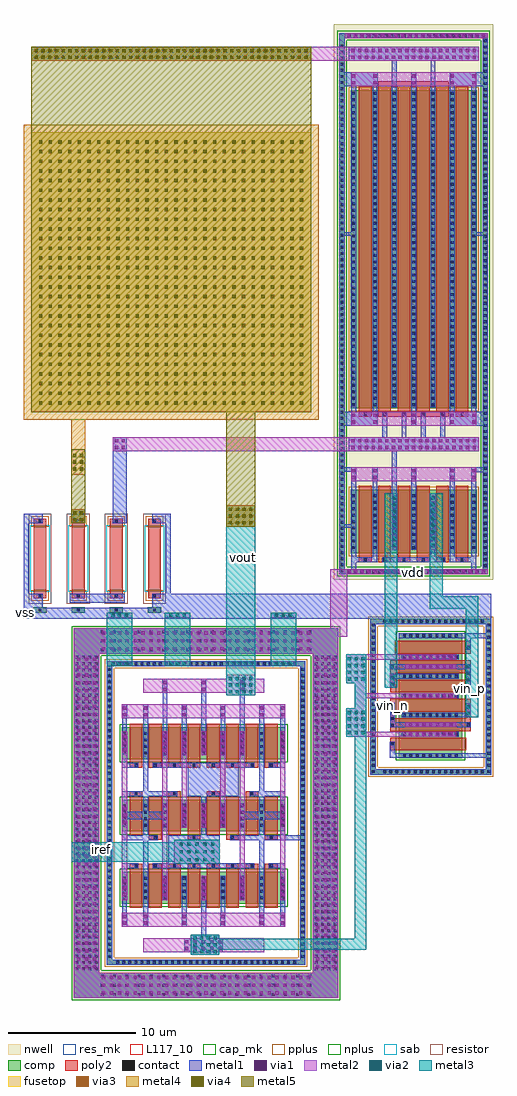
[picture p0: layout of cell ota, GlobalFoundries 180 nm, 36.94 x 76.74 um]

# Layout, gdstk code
from math import pi, radians
import gdstk
lib = gdstk.Library(unit=1e-6, precision=1e-09)
def R(c, l, rs):  # rectangles x0, y0, x1, y1
    for r in rs: c.add(gdstk.rectangle(r[:2], r[2:], *l))
def A(c, l, x, y, w, h, nx, ny, dx, dy):  # array of equal rectangles
    R(c, l, [(x+i*dx, y+j*dy, x+i*dx+w, y+j*dy+h) for i in range(nx) for j in range(ny)])
nwell = (21, 0)
comp = (22, 0)
poly2 = (30, 0)
pplus = (31, 0)
nplus = (32, 0)
contact = (33, 0)
metal1 = (34, 0)
via1 = (35, 0)
metal2 = (36, 0)
via2 = (38, 0)
via3 = (40, 0)
via4 = (41, 0)
metal3 = (42, 0)
metal4 = (46, 0)
sab = (49, 0)
resistor = (62, 0)
fusetop = (75, 0)
metal5 = (81, 0)
res_mk = (110, 5)
cap_mk = (117, 5)
L117_10 = (117, 10)

via_dev_32 = lib.new_cell('via_dev$32')
R(via_dev_32, metal2, [(0,0,2.26,1.6)])
A(via_dev_32, via2, 0.205, 0.14, 0.26, 0.26, 4, 3, 0.53, 0.53)
R(via_dev_32, metal3, [(0,0,2.26,1.6)])

ota_res_flat = lib.new_cell('ota_res_FLAT')
A(ota_res_flat, comp, 0.36, -6.21, 0.42, 1, 1, 4, 0, 3)
A(ota_res_flat, poly2, 1.48, -6.21, 6.28, 1, 1, 4, 0, 3)
A(ota_res_flat, pplus, 1.3, -6.39, 0.82, 1.36, 1, 4, 0, 3)
A(ota_res_flat, pplus, 7.12, -6.39, 0.82, 1.36, 1, 4, 0, 3)
A(ota_res_flat, pplus, 0.34, -6.23, 0.46, 1.04, 1, 4, 0, 3)
A(ota_res_flat, contact, 0.46, -5.82, 0.22, 0.22, 1, 4, 0, 3)
A(ota_res_flat, contact, 1.58, -5.82, 0.22, 0.22, 1, 4, 0, 3)
A(ota_res_flat, contact, 7.44, -5.82, 0.22, 0.22, 1, 4, 0, 3)
A(ota_res_flat, metal1, 0.38, -5.9, 0.38, 0.38, 1, 4, 0, 3)
A(ota_res_flat, metal1, 1.47, -5.9, 0.38, 0.38, 1, 4, 0, 3)
R(ota_res_flat, metal1, [(0.38,-7,1.85,-5.515), (0.38,-7,0.76,4.58), (1.85,-7,7.77,-6.61), (7.39,-7,8.16,-5.515), (7.39,-5.9,7.77,-5.52), (1.15,-3.39,1.85,0.97), (0.38,-2.905,0.76,-2.515), (7.39,-2.905,7.77,-2.515), (7.39,-2.9,7.77,-2.52), (0.38,0.095,0.76,0.485), (7.39,0.095,7.77,0.485), (7.39,0.1,8.61,0.48), (0.38,3.095,1.85,4.58), (7.39,3.095,8.16,4.58), (7.39,3.1,7.77,3.48), (1.85,4.19,7.77,4.58)])
A(ota_res_flat, sab, 2.02, -6.49, 5.2, 1.56, 1, 4, 0, 3)
A(ota_res_flat, resistor, 1.08, -6.61, 7.08, 1.8, 1, 4, 0, 3)
A(ota_res_flat, res_mk, 2.12, -6.21, 5, 1, 1, 4, 0, 3)
ota_res_flat.add(gdstk.Label('res_vout', (7.72,-2.665), layer=34, texttype=10))
ota_res_flat.add(gdstk.Label('vss', (0.51,-6.495), layer=34, texttype=10))
ota_res_flat.add(gdstk.Label('vin', (7.72,0.225), layer=34, texttype=10))

via_dev = lib.new_cell('via_dev')
R(via_dev, metal1, [(0,0,0.4,1.91)])
A(via_dev, via1, 0.07, 0.295, 0.26, 0.26, 1, 3, 0, 0.53)
R(via_dev, metal2, [(0,0,0.4,1.91)])

via_dev_7 = lib.new_cell('via_dev$7')
R(via_dev_7, metal1, [(0,0,0.4,1.1)])
R(via_dev_7, via1, [(0.07,0.155,0.33,0.415), (0.07,0.685,0.33,0.945)])
R(via_dev_7, metal2, [(0,0,0.4,1.1)])

via_dev_2 = lib.new_cell('via_dev$2')
R(via_dev_2, metal1, [(0,0,3.56,1.87)])
A(via_dev_2, via1, 0.41, 0.185, 0.26, 0.26, 5, 3, 0.62, 0.62)
R(via_dev_2, metal2, [(0,0,3.56,1.87)])
A(via_dev_2, via2, 0.41, 0.185, 0.26, 0.26, 5, 3, 0.62, 0.62)
R(via_dev_2, metal3, [(0,0,3.56,1.87)])

nfet_5 = lib.new_cell('nfet$5')
R(nfet_5, comp, [(-0.42,0,0,2.5), (0,0,12.02,2.5), (12.02,0,12.44,2.5)])
A(nfet_5, poly2, 0.19, -0.66, 1, 0.36, 4, 1, 3.04, 0)
A(nfet_5, poly2, 0.19, -0.3, 1, 3.1, 8, 1, 1.52, 0)
A(nfet_5, poly2, 1.71, 2.8, 1, 0.36, 4, 1, 3.04, 0)
R(nfet_5, nplus, [(-0.59,-0.24,12.61,2.74)])
A(nfet_5, contact, 0.58, -0.59, 0.22, 0.22, 4, 1, 3.04, 0)
A(nfet_5, contact, -0.32, 0.375, 0.22, 0.22, 1, 4, 0, 0.51)
A(nfet_5, contact, 1.34, 0.375, 0.22, 0.22, 7, 4, 1.52, 0.51)
A(nfet_5, contact, 12.12, 0.375, 0.22, 0.22, 1, 4, 0, 0.51)
A(nfet_5, contact, 2.1, 2.87, 0.22, 0.22, 4, 1, 3.04, 0)
A(nfet_5, metal1, 0.5, -0.67, 0.38, 0.38, 4, 1, 3.04, 0)
A(nfet_5, metal1, 1.26, 0.295, 0.38, 1.91, 7, 1, 1.52, 0)
A(nfet_5, metal1, 2.02, 2.79, 0.38, 0.38, 4, 1, 3.04, 0)
R(nfet_5, metal1, [(-0.4,0.295,-0.02,2.205), (12.04,0.295,12.42,2.205)])

nfet_6 = lib.new_cell('nfet$6')
R(nfet_6, comp, [(-0.42,0,0,2.5), (0,0,12.02,2.5), (12.02,0,12.44,2.5)])
A(nfet_6, poly2, 0.19, -0.66, 1, 0.36, 8, 1, 1.52, 0)
A(nfet_6, poly2, 0.19, -0.3, 1, 3.1, 8, 1, 1.52, 0)
R(nfet_6, nplus, [(-0.59,-0.24,12.61,2.74)])
A(nfet_6, contact, 0.58, -0.59, 0.22, 0.22, 8, 1, 1.52, 0)
A(nfet_6, contact, -0.32, 0.375, 0.22, 0.22, 1, 4, 0, 0.51)
A(nfet_6, contact, 1.34, 0.375, 0.22, 0.22, 7, 4, 1.52, 0.51)
A(nfet_6, contact, 12.12, 0.375, 0.22, 0.22, 1, 4, 0, 0.51)
A(nfet_6, metal1, 0.5, -0.67, 0.38, 0.38, 8, 1, 1.52, 0)
A(nfet_6, metal1, 1.26, 0.295, 0.38, 1.91, 7, 1, 1.52, 0)
R(nfet_6, metal1, [(-0.4,0.295,-0.02,2.205), (12.04,0.295,12.42,2.205)])

nfet_7 = lib.new_cell('nfet$7')
R(nfet_7, comp, [(-0.42,0,0,2.5), (0,0,12.02,2.5), (12.02,0,12.44,2.5)])
A(nfet_7, poly2, 0.19, -0.3, 1, 3.1, 8, 1, 1.52, 0)
A(nfet_7, poly2, 0.19, 2.8, 1, 0.36, 8, 1, 1.52, 0)
R(nfet_7, nplus, [(-0.59,-0.24,12.61,2.74)])
A(nfet_7, contact, -0.32, 0.375, 0.22, 0.22, 1, 4, 0, 0.51)
A(nfet_7, contact, 1.34, 0.375, 0.22, 0.22, 7, 4, 1.52, 0.51)
A(nfet_7, contact, 12.12, 0.375, 0.22, 0.22, 1, 4, 0, 0.51)
A(nfet_7, contact, 0.58, 2.87, 0.22, 0.22, 8, 1, 1.52, 0)
A(nfet_7, metal1, 1.26, 0.295, 0.38, 1.91, 7, 1, 1.52, 0)
A(nfet_7, metal1, 0.5, 2.79, 0.38, 0.38, 8, 1, 1.52, 0)
R(nfet_7, metal1, [(-0.4,0.295,-0.02,2.205), (12.04,0.295,12.42,2.205)])

via_dev_15_1 = lib.new_cell('via_dev$15$1')
R(via_dev_15_1, comp, [(0,0,14.8,0.4)])
A(via_dev_15_1, contact, 0.33, 0.09, 0.22, 0.22, 30, 1, 0.48, 0)
R(via_dev_15_1, metal1, [(0,0,14.8,0.4)])

via_dev_20 = lib.new_cell('via_dev$20')
R(via_dev_20, comp, [(0,0,16.8,2)])
A(via_dev_20, contact, 0.13, 0.17, 0.22, 0.22, 18, 3, 0.96, 0.72)
R(via_dev_20, metal1, [(0,0,16.8,2)])
A(via_dev_20, via1, 0.21, 0.25, 0.26, 0.26, 27, 3, 0.62, 0.62)
R(via_dev_20, metal2, [(0,0,16.8,2)])

via_dev_19 = lib.new_cell('via_dev$19')
R(via_dev_19, comp, [(0,0,2,25.08)])
A(via_dev_19, contact, 0.14, 0.18, 0.22, 0.22, 4, 50, 0.5, 0.5)
R(via_dev_19, metal1, [(0,0,2,25.08)])
A(via_dev_19, via1, 0.25, 0.32, 0.26, 0.26, 3, 40, 0.62, 0.62)
R(via_dev_19, metal2, [(0,0,2,25.08)])

via_dev_16 = lib.new_cell('via_dev$16')
R(via_dev_16, comp, [(0,0,0.4,23.08)])
A(via_dev_16, contact, 0.09, 0.15, 0.22, 0.22, 1, 48, 0, 0.48)
R(via_dev_16, metal1, [(0,0,0.4,23.08)])

cm_nmos = lib.new_cell('cm_nmos')
R(cm_nmos, nwell, [(16.91,2.495,19.23,31.895), (16.91,2.495,38.03,4.815), (35.71,2.495,38.03,31.895), (16.91,29.575,38.03,31.895)])
R(cm_nmos, comp, [(17.07,2.655,19.07,4.655), (35.87,2.655,37.87,4.655), (19.67,5.255,20.07,5.655), (34.87,5.255,35.27,5.655), (19.67,28.735,20.07,29.135), (34.87,28.735,35.27,29.135), (17.07,29.735,19.07,31.735), (35.87,29.735,37.87,31.735)])
R(cm_nmos, pplus, [(19.51,5.095,20.23,29.295), (19.51,5.095,35.43,5.815), (34.71,5.095,35.43,29.295), (19.51,28.575,35.43,29.295)])
R(cm_nmos, nplus, [(16.91,2.495,38.03,4.815), (16.91,2.495,19.23,31.895), (35.71,2.495,38.03,31.895), (16.91,29.575,38.03,31.895)])
A(cm_nmos, metal1, 24.04, 7.755, 0.38, 3, 3, 1, 3.04, 0)
A(cm_nmos, metal1, 22.52, 9.755, 0.38, 1, 4, 2, 3.04, 14.28)
R(cm_nmos, metal1, [(17.07,2.655,19.07,4.655), (35.87,2.655,37.87,4.655), (19.67,5.255,20.07,5.655), (34.87,5.255,35.27,5.655), (30.12,7.755,30.5,10.755), (20.86,9.755,21.24,10.755), (33.3,9.755,33.68,10.755), (20.85,12.665,21.25,13.635), (22.52,12.665,22.9,16.44), (31.64,12.665,32.02,16.44), (33.29,12.665,33.69,13.635), (20.85,13.245,22.14,13.635), (23.28,13.245,31.26,13.635), (32.4,13.245,33.69,13.635), (26.01,13.635,30.05,15.86), (20.85,15.47,25.18,15.86), (20.85,15.47,21.25,16.44), (30.88,15.47,33.69,15.86), (33.29,15.47,33.69,16.44), (27.07,15.86,27.47,16.44), (21.24,17.075,24.04,17.7), (30.5,17.075,33.3,17.7), (20.85,18.35,21.25,19.32), (22.52,18.35,22.9,22.125), (27.07,18.35,27.47,18.93), (31.64,18.35,32.02,22.125), (33.29,18.35,33.69,19.32), (20.85,18.93,23.66,19.32), (24.49,18.93,28.53,21.155), (29.36,18.93,33.69,19.32), (33.69,18.93,34.87,19.32), (20.85,21.155,21.25,22.125), (20.85,21.155,22.14,21.545), (23.28,21.155,31.26,21.545), (32.4,21.155,33.69,21.545), (33.29,21.155,33.69,22.125), (20.86,24.035,21.24,25.035), (27.08,24.035,27.46,27.035), (33.3,24.035,33.68,25.035), (25.75,27.035,28.79,28.135), (19.67,28.735,20.07,29.135), (34.87,28.735,35.27,29.135), (17.07,29.735,19.07,31.735), (35.87,29.735,37.87,31.735)])
R(cm_nmos, metal2, [(17.07,2.655,19.07,4.655), (35.87,2.655,37.87,4.655), (22.51,6.655,32.03,7.755), (20.85,8.655,33.69,9.755), (20.85,12.665,21.25,22.125), (24.03,12.665,24.43,22.125), (25.55,12.665,25.95,16.44), (28.59,12.665,28.99,16.44), (30.11,12.665,30.51,22.125), (33.29,12.665,33.69,22.125), (20.85,25.035,33.69,26.135), (22.51,27.035,32.03,28.135), (17.07,29.735,19.07,31.735), (35.87,29.735,37.87,31.735)])
cm_nmos.add(gdstk.Reference(via_dev, (30.11,10.755)))
cm_nmos.add(gdstk.Reference(via_dev, (27.07,16.44)))
cm_nmos.add(gdstk.Reference(via_dev_7, (31.63,25.035)))
cm_nmos.add(gdstk.Reference(via_dev_7, (27.07,6.655)))
cm_nmos.add(gdstk.Reference(via_dev_7, (31.63,8.655)))
cm_nmos.add(gdstk.Reference(via_dev, (30.11,22.125)))
cm_nmos.add(gdstk.Reference(via_dev, (25.55,16.44)))
cm_nmos.add(gdstk.Reference(via_dev, (27.07,22.125)))
cm_nmos.add(gdstk.Reference(via_dev, (28.59,16.44)))
cm_nmos.add(gdstk.Reference(via_dev_7, (20.85,8.655)))
cm_nmos.add(gdstk.Reference(via_dev_7, (22.51,8.655)))
cm_nmos.add(gdstk.Reference(via_dev_7, (25.55,8.655)))
cm_nmos.add(gdstk.Reference(via_dev_7, (28.59,8.655)))
cm_nmos.add(gdstk.Reference(via_dev_7, (33.29,8.655)))
cm_nmos.add(gdstk.Reference(via_dev_7, (24.03,6.655)))
cm_nmos.add(gdstk.Reference(via_dev_7, (30.11,6.655)))
cm_nmos.add(gdstk.Reference(via_dev_7, (20.85,25.035)))
cm_nmos.add(gdstk.Reference(via_dev_7, (22.51,25.035)))
cm_nmos.add(gdstk.Reference(via_dev_7, (25.55,25.035)))
cm_nmos.add(gdstk.Reference(via_dev_7, (28.59,25.035)))
cm_nmos.add(gdstk.Reference(via_dev_7, (33.29,25.035)))
cm_nmos.add(gdstk.Reference(via_dev_7, (27.07,27.035)))
cm_nmos.add(gdstk.Reference(via_dev, (25.55,10.755)))
cm_nmos.add(gdstk.Reference(via_dev, (28.59,10.755)))
cm_nmos.add(gdstk.Reference(via_dev_7, (30.11,6.655)))
cm_nmos.add(gdstk.Reference(via_dev, (24.03,10.755)))
cm_nmos.add(gdstk.Reference(via_dev, (27.07,10.755)))
cm_nmos.add(gdstk.Reference(via_dev, (24.03,22.125)))
cm_nmos.add(gdstk.Reference(via_dev, (20.85,22.125)))
cm_nmos.add(gdstk.Reference(via_dev, (20.85,16.44)))
cm_nmos.add(gdstk.Reference(via_dev, (20.85,10.755)))
cm_nmos.add(gdstk.Reference(via_dev, (33.29,22.125)))
cm_nmos.add(gdstk.Reference(via_dev, (33.29,16.44)))
cm_nmos.add(gdstk.Reference(via_dev, (33.29,10.755)))
cm_nmos.add(gdstk.Reference(via_dev_2, (24.97,19.305)))
cm_nmos.add(gdstk.Reference(nfet_5, (21.26,16.145)))
cm_nmos.add(gdstk.Reference(nfet_6, (21.26,21.83)))
cm_nmos.add(gdstk.Reference(nfet_7, (21.26,10.46)))
cm_nmos.add(gdstk.Reference(via_dev_15_1, (20.07,5.255)))
cm_nmos.add(gdstk.Reference(via_dev_20, (19.07,2.655)))
cm_nmos.add(gdstk.Reference(via_dev_15_1, (20.07,28.735)))
cm_nmos.add(gdstk.Reference(via_dev_19, (35.87,4.655)))
cm_nmos.add(gdstk.Reference(via_dev_16, (19.67,5.655)))
cm_nmos.add(gdstk.Reference(via_dev_16, (34.87,5.655)))
cm_nmos.add(gdstk.Reference(via_dev_20, (19.07,29.735)))
cm_nmos.add(gdstk.Reference(via_dev_19, (17.07,4.655)))
cm_nmos.add(gdstk.Reference(via_dev_7, (26.385,27.035)))
cm_nmos.add(gdstk.Reference(via_dev_7, (28.39,27.035)))
cm_nmos.add(gdstk.Reference(via_dev_7, (27.705,27.035)))
cm_nmos.add(gdstk.Reference(via_dev_7, (25.75,27.035)))
cm_nmos.add(gdstk.Label('vss', (19.89,18.485), layer=34, texttype=0))
cm_nmos.add(gdstk.Label('vdd', (18.82,18.425), layer=34, texttype=0))
cm_nmos.add(gdstk.Label('iout', (27.3,27.91), layer=34, texttype=10))
cm_nmos.add(gdstk.Label('vout', (30.32,7.235), layer=34, texttype=10))
cm_nmos.add(gdstk.Label('iref', (25.315,21.35), layer=34, texttype=10))

via_dev_35 = lib.new_cell('via_dev$35')
R(via_dev_35, metal2, [(0,0,22,1.1)])
A(via_dev_35, via2, 0.27, 0.155, 0.26, 0.26, 41, 2, 0.53, 0.53)
A(via_dev_35, via3, 0.27, 0.155, 0.26, 0.26, 41, 2, 0.53, 0.53)
A(via_dev_35, via4, 0.27, 0.155, 0.26, 0.26, 41, 2, 0.53, 0.53)
R(via_dev_35, metal3, [(0,0,22,1.1)])
R(via_dev_35, metal4, [(0,0,22,1.1)])
R(via_dev_35, metal5, [(0,0,22,1.1)])

cap_mim = lib.new_cell('cap_mim')
A(cap_mim, via4, 0.61, 0.61, 0.26, 0.26, 28, 28, 0.76, 0.76)
R(cap_mim, metal4, [(-0.6,-0.6,22.6,22.6)])
R(cap_mim, fusetop, [(0,0,22,22)])
R(cap_mim, metal5, [(0,0,22,22)])
R(cap_mim, cap_mk, [(-0.6,-0.6,22.6,22.6)])
R(cap_mim, L117_10, [(0,0,22,0.1)])

via_dev_40 = lib.new_cell('via_dev$40')
R(via_dev_40, comp, [(0,0,0.4,42.14)])
A(via_dev_40, contact, 0.09, 0.145, 0.22, 0.22, 1, 87, 0, 0.48)
R(via_dev_40, metal1, [(0,0,0.4,42.14)])

via_dev_42 = lib.new_cell('via_dev$42')
R(via_dev_42, metal1, [(0,0,11.26,0.4)])
A(via_dev_42, via1, 0.2, 0.07, 0.26, 0.26, 21, 1, 0.53, 0)
R(via_dev_42, metal2, [(0,0,11.26,0.4)])

via_dev_41 = lib.new_cell('via_dev$41')
R(via_dev_41, comp, [(0,0,11.26,0.4)])
A(via_dev_41, contact, 0.265, 0.09, 0.22, 0.22, 22, 1, 0.48, 0)
R(via_dev_41, metal1, [(0,0,11.26,0.4)])
via_dev_41.add(gdstk.Reference(via_dev_42, (0,0)))

via_dev_34 = lib.new_cell('via_dev$34')
R(via_dev_34, metal1, [(0,0,1.1,1.1)])
R(via_dev_34, via1, [(0.155,0.155,0.415,0.415), (0.685,0.155,0.945,0.415), (0.155,0.685,0.415,0.945), (0.685,0.685,0.945,0.945)])
R(via_dev_34, metal2, [(0,0,1.1,1.1)])

via_dev_36 = lib.new_cell('via_dev$36')
A(via_dev_36, via3, 0.205, 0.19, 0.26, 0.26, 4, 3, 0.53, 0.53)
A(via_dev_36, via4, 0.205, 0.19, 0.26, 0.26, 4, 3, 0.53, 0.53)
R(via_dev_36, metal3, [(0,0,2.26,1.7)])
R(via_dev_36, metal4, [(0,0,2.26,1.7)])
R(via_dev_36, metal5, [(0,0,2.26,1.7)])

via_dev_22 = lib.new_cell('via_dev$22')
R(via_dev_22, metal1, [(0,0,0.4,1.1)])
R(via_dev_22, via1, [(0.07,0.155,0.33,0.415), (0.07,0.685,0.33,0.945)])
R(via_dev_22, metal2, [(0,0,0.4,1.1)])

cm_pmos_flat = lib.new_cell('cm_pmos_FLAT')
R(cm_pmos_flat, nwell, [(6.305,-3.895,17.085,4.87), (6.305,-3.895,17.085,1.985)])
R(cm_pmos_flat, comp, [(6.745,-3.455,7.205,1.545), (7.205,-3.455,16.185,1.545), (16.185,-3.455,16.645,1.545), (9.975,-3.185,10.375,1.275), (13.015,-3.185,13.415,1.275)])
A(cm_pmos_flat, poly2, 7.395, -4.135, 1, 0.38, 6, 1, 1.52, 0)
A(cm_pmos_flat, poly2, 7.395, -3.755, 1, 5.6, 6, 1, 1.52, 0)
R(cm_pmos_flat, pplus, [(6.575,-3.695,16.815,1.785)])
A(cm_pmos_flat, contact, 7.785, -4.055, 0.22, 0.22, 6, 1, 1.52, 0)
A(cm_pmos_flat, contact, 6.865, -3.105, 0.22, 0.22, 1, 9, 0, 0.51)
A(cm_pmos_flat, contact, 8.545, -3.105, 0.22, 0.22, 3, 4, 3.04, 0.51)
A(cm_pmos_flat, contact, 16.305, -3.105, 0.22, 0.22, 1, 9, 0, 0.51)
A(cm_pmos_flat, contact, 10.065, -2.985, 0.22, 0.22, 1, 4, 0, 0.48)
A(cm_pmos_flat, contact, 13.105, -2.985, 0.22, 0.22, 1, 4, 0, 0.48)
A(cm_pmos_flat, contact, 8.545, -1.065, 0.22, 0.22, 5, 1, 1.52, 0)
A(cm_pmos_flat, contact, 10.065, -0.585, 0.22, 0.22, 1, 4, 0, 0.48)
A(cm_pmos_flat, contact, 13.105, -0.585, 0.22, 0.22, 1, 4, 0, 0.48)
A(cm_pmos_flat, contact, 8.545, -0.555, 0.22, 0.22, 3, 4, 3.04, 0.51)
A(cm_pmos_flat, metal1, 7.705, -4.135, 0.38, 0.38, 6, 1, 1.52, 0)
A(cm_pmos_flat, metal1, 8.465, -3.185, 0.38, 4.46, 3, 1, 3.04, 0)
A(cm_pmos_flat, metal1, 8.465, 1.275, 0.38, 0.95, 3, 1, 3.04, 0)
R(cm_pmos_flat, metal1, [(6.785,-4.14,7.165,-3.185), (7.165,-4.14,8.845,-3.75), (8.465,-4.14,8.845,-3.185), (9.225,-4.14,14.165,-3.75), (14.545,-4.14,14.925,-3.185), (14.925,-4.14,16.225,-3.75), (16.225,-4.14,16.605,-3.185), (13.025,-3.75,13.405,-3.185), (6.785,-3.185,7.165,1.275), (9.975,-3.185,10.375,1.275), (13.015,-3.185,13.415,1.275), (16.225,-3.185,16.605,1.275), (6.785,1.275,7.165,2.225), (9.985,1.275,10.365,3.74), (16.225,1.275,16.605,2.225)])
A(cm_pmos_flat, via1, 10.045, -2.94, 0.26, 0.26, 1, 8, 0, 0.53)
A(cm_pmos_flat, via1, 13.085, -2.94, 0.26, 0.26, 1, 8, 0, 0.53)
R(cm_pmos_flat, metal2, [(9.975,-3.185,10.375,1.275), (13.015,-3.185,13.415,1.275), (7.175,2.225,16.215,3.325)])
A(cm_pmos_flat, via2, 10.045, -2.94, 0.26, 0.26, 1, 8, 0, 0.53)
A(cm_pmos_flat, via2, 13.085, -2.94, 0.26, 0.26, 1, 8, 0, 0.53)
R(cm_pmos_flat, metal3, [(9.975,-3.185,10.375,1.275), (13.015,-3.185,13.415,1.275)])
cm_pmos_flat.add(gdstk.Reference(via_dev_22, (6.775,2.225)))
cm_pmos_flat.add(gdstk.Reference(via_dev_22, (8.455,2.225)))
cm_pmos_flat.add(gdstk.Reference(via_dev_22, (11.495,2.225)))
cm_pmos_flat.add(gdstk.Reference(via_dev_22, (14.535,2.225)))
cm_pmos_flat.add(gdstk.Reference(via_dev_22, (16.215,2.225)))
cm_pmos_flat.add(gdstk.Label('vout1', (11.655,-3.985), layer=34, texttype=10))
cm_pmos_flat.add(gdstk.Label('vdd', (15.775,-4), layer=34, texttype=10))
cm_pmos_flat.add(gdstk.Label('vout2', (10.205,1.605), layer=34, texttype=10))

via_dev_44 = lib.new_cell('via_dev$44')
R(via_dev_44, metal1, [(0,0,2,0.4)])
A(via_dev_44, via1, 0.34, 0.07, 0.26, 0.26, 3, 1, 0.53, 0)
R(via_dev_44, metal2, [(0,0,2,0.4)])
A(via_dev_44, via2, 0.34, 0.07, 0.26, 0.26, 3, 1, 0.53, 0)
R(via_dev_44, metal3, [(0,0,2,0.4)])

via_dev_58 = lib.new_cell('via_dev$58')
A(via_dev_58, via4, 0.155, 0.34, 0.26, 0.26, 1, 3, 0, 0.53)
A(via_dev_58, via4, 0.685, 0.34, 0.26, 0.26, 1, 3, 0, 0.53)
R(via_dev_58, metal4, [(0,0,1.1,2)])
R(via_dev_58, metal5, [(0,0,1.1,2)])

via_dev_56 = lib.new_cell('via_dev$56')
R(via_dev_56, metal1, [(0,0,1.1,1.1)])
R(via_dev_56, via1, [(0.155,0.155,0.415,0.415), (0.685,0.155,0.945,0.415), (0.155,0.685,0.415,0.945), (0.685,0.685,0.945,0.945)])
R(via_dev_56, metal2, [(0,0,1.1,1.1)])
R(via_dev_56, via2, [(0.155,0.155,0.415,0.415), (0.685,0.155,0.945,0.415), (0.155,0.685,0.415,0.945), (0.685,0.685,0.945,0.945)])
R(via_dev_56, via3, [(0.155,0.155,0.415,0.415), (0.685,0.155,0.945,0.415), (0.155,0.685,0.415,0.945), (0.685,0.685,0.945,0.945)])
R(via_dev_56, via4, [(0.155,0.155,0.415,0.415), (0.685,0.155,0.945,0.415), (0.155,0.685,0.415,0.945), (0.685,0.685,0.945,0.945)])
R(via_dev_56, metal3, [(0,0,1.1,1.1)])
R(via_dev_56, metal4, [(0,0,1.1,1.1)])
R(via_dev_56, metal5, [(0,0,1.1,1.1)])

out_pmos_flat = lib.new_cell('out_pmos_FLAT')
R(out_pmos_flat, nwell, [(0,1.785,10.78,28.835), (0,28.835,10.78,32.03)])
R(out_pmos_flat, comp, [(0.44,3.395,0.9,28.395), (0.9,3.395,9.88,28.395), (9.88,3.395,10.34,28.395)])
A(out_pmos_flat, poly2, 1.09, 3.095, 1, 25.6, 6, 1, 1.52, 0)
A(out_pmos_flat, poly2, 1.09, 28.695, 1, 0.38, 6, 1, 1.52, 0)
R(out_pmos_flat, poly2, [(2.61,2.715,8.17,3.155), (2.61,28.635,8.17,29.075)])
R(out_pmos_flat, pplus, [(0.27,3.155,10.51,28.635)])
A(out_pmos_flat, contact, 0.56, 3.545, 0.22, 0.22, 1, 49, 0, 0.51)
A(out_pmos_flat, contact, 2.24, 3.545, 0.22, 0.22, 5, 49, 1.52, 0.51)
A(out_pmos_flat, contact, 10, 3.545, 0.22, 0.22, 1, 49, 0, 0.51)
A(out_pmos_flat, contact, 1.48, 28.775, 0.22, 0.22, 6, 1, 1.52, 0)
A(out_pmos_flat, metal1, 2.15, 2.005, 0.4, 1.1, 3, 2, 3.04, 26.68)
A(out_pmos_flat, metal1, 2.16, 3.105, 0.38, 0.36, 3, 2, 3.04, 25.22)
A(out_pmos_flat, metal1, 2.16, 3.465, 0.38, 24.86, 5, 1, 1.52, 0)
A(out_pmos_flat, metal1, 2.92, 28.69, 0.38, 2, 4, 1, 1.52, 0)
A(out_pmos_flat, metal1, 1.4, 28.695, 0.38, 0.38, 6, 1, 1.52, 0)
R(out_pmos_flat, metal1, [(0.27,0,10.51,1.1), (3.68,1.1,4.06,3.465), (6.72,1.1,7.1,3.465), (0.47,2.005,0.87,3.105), (0.87,2.005,2.15,3.105), (8.63,2.005,9.91,3.105), (9.91,2.005,10.31,3.105), (0.48,3.105,0.86,3.465), (9.92,3.105,10.3,3.465), (0.48,3.465,0.86,28.325), (9.92,3.465,10.3,28.325), (0.48,28.325,0.86,28.685), (9.92,28.325,10.3,28.685), (0.47,28.685,0.87,29.785), (0.87,28.685,2.15,29.785), (8.63,28.685,9.91,29.785), (9.91,28.685,10.31,29.785), (0.27,30.69,10.51,31.79)])
A(out_pmos_flat, via1, 0.49, 0.155, 0.26, 0.26, 19, 2, 0.53, 0.53)
A(out_pmos_flat, via1, 2.22, 2.16, 0.26, 0.26, 3, 2, 3.04, 0.53)
A(out_pmos_flat, via1, 2.22, 28.84, 0.26, 0.26, 3, 2, 3.04, 0.53)
A(out_pmos_flat, via1, 0.49, 30.845, 0.26, 0.26, 19, 2, 0.53, 0.53)
R(out_pmos_flat, via1, [(0.54,2.16,0.8,2.42), (9.98,2.16,10.24,2.42), (0.54,2.69,0.8,2.95), (9.98,2.69,10.24,2.95), (0.54,28.84,0.8,29.1), (9.98,28.84,10.24,29.1), (0.54,29.37,0.8,29.63), (9.98,29.37,10.24,29.63)])
A(out_pmos_flat, metal2, 2.15, 2.005, 0.4, 1.1, 3, 2, 3.04, 26.68)
R(out_pmos_flat, metal2, [(0.27,0,10.51,1.1), (0.47,2.005,10.31,3.105), (0.47,2.005,0.87,3.105), (9.91,2.005,10.31,3.105), (0.47,28.685,10.31,29.785), (0.47,28.685,0.87,29.785), (9.91,28.685,10.31,29.785), (0.27,30.69,10.51,31.79)])
out_pmos_flat.add(gdstk.Label('vdd', (0.725,28.945), layer=34, texttype=10))
out_pmos_flat.add(gdstk.Label('vin', (6.12,30.07), layer=34, texttype=10))
out_pmos_flat.add(gdstk.Label('vout', (6.84,1.43), layer=34, texttype=10))

via_dev_12 = lib.new_cell('via_dev$12')
R(via_dev_12, comp, [(-0.01,7.275,0.41,19.525)])
A(via_dev_12, contact, 0.09, 7.405, 0.22, 0.22, 1, 25, 0, 0.48)
R(via_dev_12, metal1, [(-0.01,7.275,0.41,19.525)])

via_dev_15 = lib.new_cell('via_dev$15')
R(via_dev_15, comp, [(19.345,-0.01,28.43,0.41)])
A(via_dev_15, contact, 20.35, 0.09, 0.22, 0.22, 17, 1, 0.48, 0)
R(via_dev_15, metal1, [(19.345,-0.01,28.43,0.41)])

diff_pair_flat = lib.new_cell('diff_pair_FLAT')
R(diff_pair_flat, comp, [(8.89,-12.565,13.89,-12.145), (8.89,-12.145,13.89,-3.16), (8.89,-3.16,13.89,-2.74)])
A(diff_pair_flat, poly2, 8.225, -11.95, 0.36, 1, 1, 3, 0, 3.04)
A(diff_pair_flat, poly2, 8.585, -11.95, 5.605, 1, 1, 6, 0, 1.52)
R(diff_pair_flat, poly2, [(8.225,-10.43,8.585,-7.91), (14.19,-10.43,14.55,-9.43), (14.19,-9.43,14.55,-7.91), (8.225,-7.39,8.585,-5.87), (14.19,-7.39,14.55,-4.87), (14.19,-4.35,14.55,-3.35)])
R(diff_pair_flat, nplus, [(8.645,-12.735,14.13,-2.57)])
A(diff_pair_flat, contact, 9.235, -12.465, 0.22, 0.22, 5, 2, 0.51, 1.665)
A(diff_pair_flat, contact, 11.79, -12.465, 0.22, 0.22, 4, 2, 0.51, 1.665)
A(diff_pair_flat, contact, 8.295, -10.08, 0.22, 0.22, 1, 4, 0, 0.52)
A(diff_pair_flat, contact, 9.235, -9.28, 0.22, 0.22, 5, 4, 0.51, 1.52)
A(diff_pair_flat, contact, 11.79, -9.28, 0.22, 0.22, 4, 4, 0.51, 1.52)
A(diff_pair_flat, contact, 14.26, -7.05, 0.22, 0.22, 1, 4, 0, 0.52)
A(diff_pair_flat, contact, 9.235, -3.06, 0.22, 0.22, 5, 1, 0.51, 0)
A(diff_pair_flat, contact, 11.79, -3.06, 0.22, 0.22, 4, 1, 0.51, 0)
R(diff_pair_flat, contact, [(8.295,-11.56,8.515,-11.34), (14.26,-10.04,14.48,-9.82), (8.295,-5.48,8.515,-5.26), (14.26,-3.96,14.48,-3.74)])
A(diff_pair_flat, metal1, 9.155, -10.88, 4.465, 0.38, 1, 3, 0, 3.04)
R(diff_pair_flat, metal1, [(9.155,-12.545,16.17,-12.165), (15.77,-12.545,16.17,-2.76), (8.21,-12.54,9.155,-12.16), (8.21,-12.54,10.905,-12.16), (8.21,-12.16,8.6,-11.26), (8.215,-11.64,8.595,-11.26), (8.215,-10.15,8.595,-8.22), (8.255,-10.13,14.56,-9.73), (9.41,-10.13,13.41,-9.73), (14.175,-10.12,14.565,-9.74), (9.155,-9.36,14.56,-8.98), (14.16,-9.36,14.56,-8.26), (14.18,-7.19,14.56,-5.18), (8.2,-7.045,8.6,-5.945), (8.2,-6.32,13.62,-5.94), (8.21,-5.57,14.535,-5.17), (9.41,-5.57,13.41,-5.17), (8.215,-5.56,8.595,-5.18), (14.175,-4.04,14.565,-3.14), (14.18,-4.04,14.56,-3.66), (8.895,-3.14,10.905,-2.76), (9.155,-3.14,13.62,-2.76), (13.62,-3.14,16.17,-2.76)])
A(diff_pair_flat, via1, 9.69, -10.82, 0.26, 0.26, 7, 2, 0.53, 0.76)
A(diff_pair_flat, via1, 9.69, -7.78, 0.26, 0.26, 7, 2, 0.53, 2.28)
A(diff_pair_flat, via1, 9.69, -4.74, 0.26, 0.26, 7, 1, 0.53, 0)
R(diff_pair_flat, via1, [(14.23,-9.205,14.49,-8.945), (14.23,-8.675,14.49,-8.415), (8.27,-6.89,8.53,-6.63), (8.27,-6.36,8.53,-6.1)])
A(diff_pair_flat, metal2, 6.36, -10.89, 7.05, 0.4, 1, 3, 0, 3.04)
R(diff_pair_flat, metal2, [(5.46,-10.89,6.36,-4.41), (9.41,-10.13,13.41,-9.73), (14.16,-9.36,14.56,-8.26), (8.2,-7.045,8.6,-5.945), (9.41,-5.57,13.41,-5.17)])
R(diff_pair_flat, via2, [(14.23,-9.205,14.49,-8.945), (14.23,-8.675,14.49,-8.415), (8.27,-6.89,8.53,-6.63), (8.27,-6.36,8.53,-6.1)])
R(diff_pair_flat, metal3, [(14.16,-9.36,14.56,-8.26), (8.2,-7.045,8.6,-5.945)])
diff_pair_flat.add(gdstk.Label('vin_n', (8.385,-8.445), layer=34, texttype=10))
diff_pair_flat.add(gdstk.Label('vin_p', (14.445,-7.065), layer=34, texttype=10))
diff_pair_flat.add(gdstk.Label('vin2', (11.405,-9.08), layer=34, texttype=10))
diff_pair_flat.add(gdstk.Label('vin1', (11.395,-6.185), layer=34, texttype=10))
diff_pair_flat.add(gdstk.Label('vss', (14.37,-2.975), layer=34, texttype=10))
diff_pair_flat.add(gdstk.Label('cm', (8.325,-7.685), layer=36, texttype=10))

ota = lib.new_cell('ota')
R(ota, nwell, [(29.115,25.09,41.655,68.795)])
R(ota, comp, [(29.555,67.675,29.955,68.075)])
R(ota, pplus, [(31.83,9.625,32.57,22.195), (31.83,9.625,41.655,10.365), (40.915,9.625,41.655,22.195), (31.83,21.455,41.655,22.195)])
R(ota, nplus, [(29.385,25.355,41.385,26.105), (29.385,25.355,30.125,68.245), (40.645,25.355,41.385,68.245), (29.385,67.505,41.385,68.245)])
R(ota, metal1, [(33.61,15.115,33.83,15.335), (39.75,16.55,39.775,16.585), (39.575,17.105,39.795,17.325), (4.72,22.035,16.3,22.525), (16.3,22.035,41.495,23.99), (30.475,25.935,30.855,26.585), (39.915,25.935,40.295,26.485), (29.955,29.18,30.475,29.47), (11.74,29.535,12.84,35.205), (40.305,33.54,40.815,33.95), (29.955,33.58,30.465,33.95), (33.665,34.365,34.065,35.205), (29.955,37.21,30.465,38.31), (40.305,37.21,40.815,38.31), (40.295,52.145,40.815,52.41), (29.955,52.16,30.475,52.43), (29.955,63.89,30.465,64.99), (40.305,63.89,40.815,64.99), (29.555,67.675,29.955,68.075)])
R(ota, metal2, [(28.835,20.63,30.15,25.935), (12.84,35.205,34.065,36.305), (5.32,65.895,30.9,66.995)])
R(ota, metal3, [(20.115,-4.005,31.675,-3.135), (30.775,-3.135,31.675,16.965), (8.51,2.94,16.57,4.44), (39.475,14.275,40.475,22.8), (33.1,16.59,34.1,31.9), (20.66,17.615,22.915,29.265), (11.27,18.695,13.27,22.11), (15.815,18.695,17.815,22.11), (24.14,18.695,26.14,22.11), (36.665,22.8,37.665,31.9), (37.665,22.8,40.475,23.8)])
R(ota, metal4, [(8.455,35.345,9.555,37.665)])
R(ota, metal5, [(8.455,30.635,9.555,33.345), (20.66,30.965,22.915,38.265), (5.32,60.265,27.32,65.895)])
r = gdstk.Reference(via_dev_32, (20.655,16.015)); r.repetition = gdstk.Repetition(1, 1, v1=(0,0), v2=(0,0)); ota.add(r)
ota.add(gdstk.Reference(ota_res_flat, (11.72,22.145), rotation=pi/2, x_reflection=True))
ota.add(gdstk.Reference(cm_nmos, (-8.4,23.95), x_reflection=True))
r = gdstk.Reference(via_dev_35, (5.32,65.895)); r.repetition = gdstk.Repetition(1, 1, v1=(0,0), v2=(0,0)); ota.add(r)
r = gdstk.Reference(cap_mim, (5.32,38.265)); r.repetition = gdstk.Repetition(1, 1, v1=(0,0), v2=(0,0)); ota.add(r)
r = gdstk.Reference(via_dev_40, (29.555,25.535)); r.repetition = gdstk.Repetition(1, 1, v1=(0,0), v2=(0,0)); ota.add(r)
ota.add(gdstk.Reference(via_dev_41, (29.955,25.535)))
ota.add(gdstk.Reference(via_dev_41, (29.955,67.675)))
ota.add(gdstk.Reference(via_dev_34, (11.74,35.205)))
r = gdstk.Reference(via_dev_36, (20.66,29.265)); r.repetition = gdstk.Repetition(1, 1, v1=(0,0), v2=(0,0)); ota.add(r)
ota.add(gdstk.Reference(cm_pmos_flat, (23.69,30.625)))
ota.add(gdstk.Reference(via_dev_44, (11.27,18.295)))
ota.add(gdstk.Reference(via_dev_44, (15.815,18.295)))
r = gdstk.Reference(via_dev_40, (40.815,25.935)); r.repetition = gdstk.Repetition(1, 1, v1=(0,0), v2=(0,0)); ota.add(r)
ota.add(gdstk.Reference(via_dev_58, (8.455,33.345)))
ota.add(gdstk.Reference(via_dev_56, (8.455,29.535)))
ota.add(gdstk.Reference(out_pmos_flat, (40.775,66.995), rotation=pi))
r = gdstk.Reference(via_dev_12, (32,2.51)); r.repetition = gdstk.Repetition(1, 1, v1=(0,0), v2=(0,0)); ota.add(r)
r = gdstk.Reference(via_dev_12, (41.085,2.51)); r.repetition = gdstk.Repetition(1, 1, v1=(0,0), v2=(0,0)); ota.add(r)
r = gdstk.Reference(via_dev_15, (12.645,21.625)); r.repetition = gdstk.Repetition(1, 1, v1=(0,0), v2=(0,0)); ota.add(r)
r = gdstk.Reference(via_dev_15, (12.645,9.795)); r.repetition = gdstk.Repetition(1, 1, v1=(0,0), v2=(0,0)); ota.add(r)
ota.add(gdstk.Reference(diff_pair_flat, (25.315,23.635)))
r = gdstk.Reference(via_dev_32, (17.855,-4.395)); r.repetition = gdstk.Repetition(1, 1, v1=(0,0), v2=(0,0)); ota.add(r)
r = gdstk.Reference(via_dev_32, (31.675,12.745), rotation=pi/2); r.repetition = gdstk.Repetition(1, 1, v1=(0,0), v2=(0,0)); ota.add(r)
r = gdstk.Reference(via_dev_32, (31.675,16.965), rotation=pi/2); r.repetition = gdstk.Repetition(1, 1, v1=(0,0), v2=(0,0)); ota.add(r)
ota.add(gdstk.Reference(via_dev_44, (24.14,18.295)))
ota.add(gdstk.Reference(via_dev_44, (11.27,22.11)))
ota.add(gdstk.Reference(via_dev_44, (15.815,22.11)))
ota.add(gdstk.Reference(via_dev_44, (24.14,22.11)))
ota.add(gdstk.Label('vss', (4.85,22.54), layer=34, texttype=10))
ota.add(gdstk.Label('vin_p', (39.76,16.57), layer=34, texttype=10))
ota.add(gdstk.Label('vin_n', (33.7,15.19), layer=34, texttype=10))
ota.add(gdstk.Label('vdd', (35.39,25.7), layer=34, texttype=10))
ota.add(gdstk.Label('iref', (10.82,3.85), layer=42, texttype=10))
ota.add(gdstk.Label('vout', (22.03,26.83), layer=42, texttype=10))

lib.write_gds('ota.gds')
